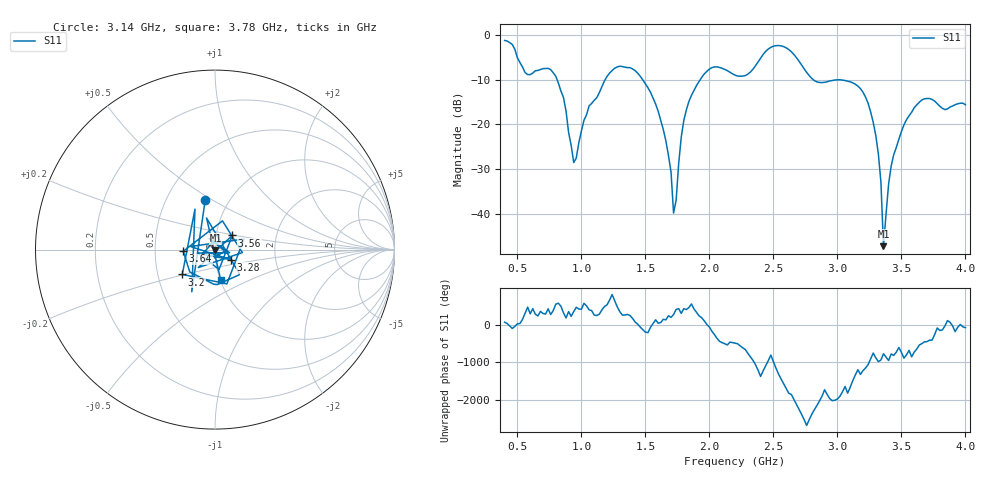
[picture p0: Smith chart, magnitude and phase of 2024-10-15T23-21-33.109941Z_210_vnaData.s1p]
! Created with skrf (http://scikit-rf.org).
# Hz S RI R 50.0
!freq ReS11 ImS11
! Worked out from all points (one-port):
!   181 points, 400 MHz to 4 GHz, reference 50 ohm
!   lowest |S11| = -47.3 dB at 3.36 GHz (marker M1), VSWR 1.01, Z = 50.3 - j0.334 ohm
!   |S11| at or under -10 dB: 810.2 MHz to 1.185 GHz (375 MHz wide, 37.6 % of centre); 1.479 GHz to 1.928 GHz (448.8 MHz wide, 26.3 % of centre); 3.021 GHz to end of sweep (the widest 3 of 4)
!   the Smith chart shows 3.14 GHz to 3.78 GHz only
!   S11 on the Smith chart (normalised r, x): 3.14 GHz: 0.77, +0.47; 3.2 GHz: 0.67, -0.20; 3.28 GHz: 1.19, -0.14; 3.56 GHz: 1.20, +0.19; 3.64 GHz: 0.70, -0.01; 3.78 GHz: 1.01, -0.35
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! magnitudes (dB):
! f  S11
! 400 MHz  -1.2
! 580 MHz  -8.8
! 760 MHz  -7.7
! 860 MHz  -14.0
! 940 MHz  -28.6
! 1.06 GHz  -15.9
! 1.3 GHz  -7.0
! 1.58 GHz  -15.4
! 1.68 GHz  -27.0
! 1.72 GHz  -39.9
! 1.76 GHz  -28.8
! 1.82 GHz  -16.8
! 1.92 GHz  -10.3
! 2.2 GHz  -9.0
! 2.5 GHz  -2.5
! 2.66 GHz  -4.3
! 2.84 GHz  -10.5
! 3.1 GHz  -10.5
! 3.14 GHz  -11.0
! 3.2 GHz  -12.8
! 3.28 GHz  -19.6
! 3.34 GHz  -32.9
! 3.36 GHz  -47.3
! 3.42 GHz  -29.4
! 3.56 GHz  -18.1
! 3.64 GHz  -15.0
! 3.78 GHz  -15.3
! 4 GHz  -15.6
